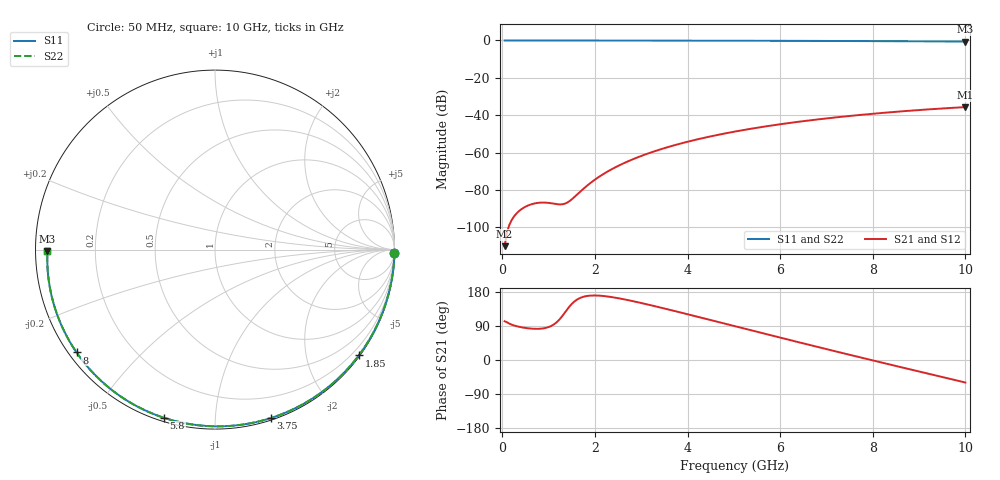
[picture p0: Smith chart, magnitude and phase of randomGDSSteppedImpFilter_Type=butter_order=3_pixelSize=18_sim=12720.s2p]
! freq	dB(S11)	phase(S11)	dB(S12)	phase(S12)
!  dB(S21)	phase(S21)	dB(S22)	phase(S22)
!S-par simulation data
#  GHz  S  DB  R 50
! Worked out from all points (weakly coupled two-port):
!   200 points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, 50 MHz to 10 GHz, reference 50 ohm
!   highest |S21| = -35.70 dB at 10 GHz (marker M1); lowest = -110.2 dB at 50 MHz (marker M2)
!   lowest |S11| = -0.6 dB at 10 GHz (marker M3), VSWR 29.23, Z = 1.71 - j0.261 ohm
!   |S11| at or under -10 dB: nowhere
!   |S22| runs from -0.6 to 0.0 dB; largest |S21 - S12| = 0
!   S11 on the Smith chart (normalised r, x): 50 MHz: open; 1.85 GHz: 0.03, -3.05; 3.75 GHz: 0.02, -1.39; 5.8 GHz: 0.02, -0.74; 8 GHz: 0.02, -0.33; 10 GHz: 0.03, -0.01
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0.05  -0.00 -1.0  -110.16 102.3  -110.16 102.3  -0.00 -1.0
0.45  -0.01 -9.0  -89.74 85.5  -89.74 85.5  -0.01 -9.0
0.85  -0.02 -16.9  -86.81 82.9  -86.81 82.9  -0.02 -16.9
1.25  -0.03 -24.7  -87.80 109.1  -87.80 109.1  -0.03 -24.8
1.7  -0.04 -33.5  -80.58 164.7  -80.58 164.7  -0.04 -33.5
1.75  -0.04 -34.4  -79.47 166.8  -79.47 166.8  -0.04 -34.5
1.85  -0.05 -36.4  -77.37 169.3  -77.37 169.3  -0.05 -36.4
2  -0.05 -39.2  -74.54 170.3  -74.54 170.3  -0.05 -39.2
2.15  -0.05 -42.1  -72.04 169.3  -72.04 169.3  -0.05 -42.1
2.5  -0.06 -48.7  -67.19 163.2  -67.19 163.2  -0.06 -48.7
2.9  -0.07 -56.1  -62.81 153.2  -62.81 153.2  -0.07 -56.2
3.4  -0.09 -65.3  -58.43 138.9  -58.43 138.9  -0.09 -65.3
3.75  -0.10 -71.6  -55.87 128.4  -55.87 128.4  -0.10 -71.6
4.4  -0.12 -83.1  -51.90 108.5  -51.90 108.5  -0.12 -83.1
5.05  -0.15 -94.3  -48.66 88.4  -48.66 88.4  -0.15 -94.3
5.8  -0.18 -106.9  -45.59 65.2  -45.59 65.2  -0.18 -107.0
6.7  -0.24 -121.8  -42.61 37.7  -42.61 37.7  -0.24 -121.9
7.35  -0.29 -132.5  -40.81 18.2  -40.81 18.2  -0.29 -132.6
8  -0.35 -143.4  -39.25 -1.1  -39.25 -1.1  -0.35 -143.5
8.35  -0.38 -149.3  -38.50 -11.4  -38.50 -11.4  -0.38 -149.4
9.2  -0.48 -164.3  -36.91 -36.2  -36.91 -36.2  -0.48 -164.4
10  -0.59 -179.4  -35.70 -59.4  -35.70 -59.4  -0.60 -179.6
